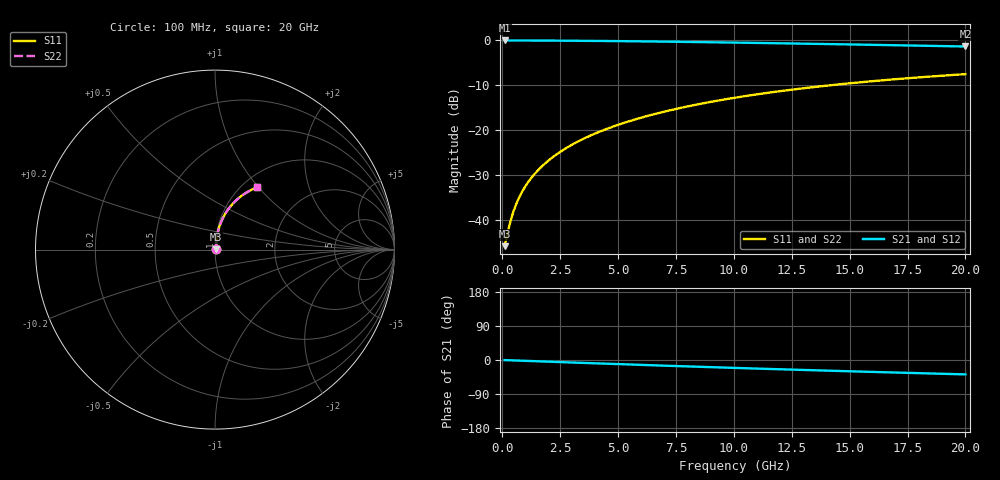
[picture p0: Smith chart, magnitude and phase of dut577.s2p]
! Touchstone file exported from HFSS 2024.1.0
!  File:  C:/UserFiles/LocalFiles/RDL_TSV_Batchsim/temp_RDL_top_577_1779681963.aedt
!  Generated:  12:08:08 PM May 25, 2026
!  Design:  RDL_top
!  Project:  temp_RDL_top_577_1779681963
!  Setup:  Setup1
!  Solution:  Sweep
! Variables:
!  dtsv = 10.80580581um
!  hbump = 3um
!  htsv = 51.32um
!  ldown = 100um
!  lrdl = 483.05um
!  p = 40
!  p1 = 49.43um
!  rhole = 1um
!  t = 450um
!  tdown = 3.915915916um
!  trdl = 2.56um
!  wdown = 15.38538539um
!  wrdl = 15.58um
# GHz S MA R 50.000000
! Terminal data exported
! Port[1] = Box2_T1
! Port[2] = Box2_T2
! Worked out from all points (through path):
!   200 points, 100 MHz to 20 GHz, reference 50 ohm
!   highest |S21| = -0.04 dB at 100 MHz (marker M1); lowest = -1.4 dB at 20 GHz (marker M2)
!   group delay of S21, straight-line fit = 5.26 ps
!   lowest |S11| = -45.9 dB at 100 MHz (marker M3), VSWR 1.01, Z = 50.4 + j0.242 ohm
!   |S11| at or under -10 dB: start of sweep to 14.21 GHz
!   |S22| runs from -45.9 to -7.5 dB; largest |S21 - S12| = 2.6e-15
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0.1  0.00507 28.2  0.9955 -0.2  0.9955 -0.2  0.00507 28.2
! Gamma 0 0 0 0
! Port Impedance 50 0 50 0
0.3  0.008512 56.8  0.9953 -0.7  0.9953 -0.7  0.008512 56.8
0.4  0.01059 63.1  0.9952 -0.9  0.9952 -0.9  0.01059 63.1
0.5  0.01274 67.1  0.995 -1.1  0.995 -1.1  0.01274 67.1
0.6  0.0149 70.0  0.9948 -1.4  0.9948 -1.4  0.0149 70.0
0.7  0.01708 72.1  0.9947 -1.6  0.9947 -1.6  0.01708 72.1
0.9  0.02145 74.9  0.9943 -2.0  0.9943 -2.0  0.02145 74.9
1.2  0.02804 77.5  0.9937 -2.7  0.9937 -2.7  0.02804 77.5
1.4  0.03245 78.6  0.9933 -3.1  0.9933 -3.1  0.03245 78.6
1.7  0.0391 79.7  0.9926 -3.8  0.9926 -3.8  0.0391 79.7
2.2  0.05027 80.8  0.9912 -4.9  0.9912 -4.9  0.05027 80.8
2.8  0.06379 81.2  0.9893 -6.2  0.9893 -6.2  0.06379 81.2
3.5  0.07969 81.2  0.9865 -7.7  0.9865 -7.7  0.07969 81.2
4.2  0.09571 80.7  0.9832 -9.2  0.9832 -9.2  0.09571 80.7
5  0.1141 80.0  0.9789 -10.9  0.9789 -10.9  0.1141 80.0
5.9  0.1349 78.9  0.9734 -12.7  0.9734 -12.7  0.1349 78.9
6.8  0.1556 77.7  0.9675 -14.6  0.9675 -14.6  0.1556 77.7
8.4  0.1922 75.2  0.9558 -17.7  0.9558 -17.7  0.1922 75.2
10.1  0.2302 72.4  0.9422 -21.0  0.9422 -21.0  0.2302 72.4
13.4  0.3 66.7  0.9137 -27.0  0.9137 -27.0  0.3 66.7
16.7  0.3633 61.1  0.8835 -32.7  0.8835 -32.7  0.3633 61.1
20  0.4193 55.8  0.8527 -38.0  0.8527 -38.0  0.4193 55.8
